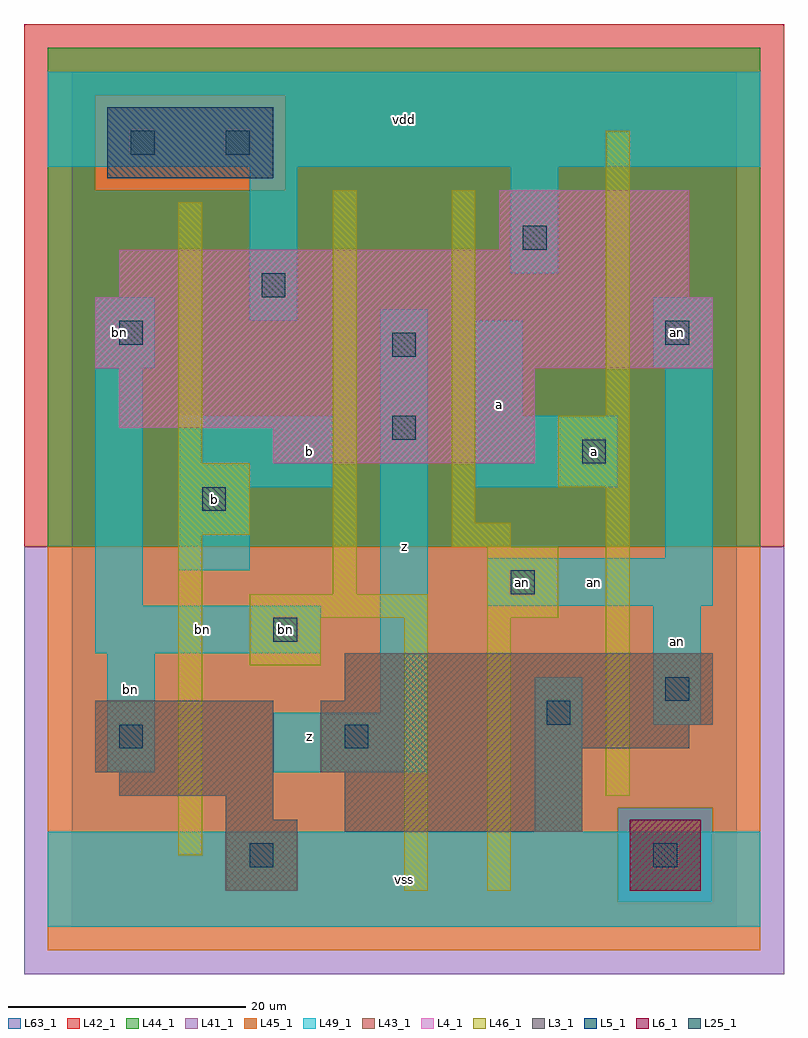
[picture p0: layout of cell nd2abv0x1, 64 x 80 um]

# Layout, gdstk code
import gdstk
lib = gdstk.Library(unit=1e-6, precision=1e-09)
def R(c, l, rs):  # rectangles x0, y0, x1, y1
    for r in rs: c.add(gdstk.rectangle(r[:2], r[2:], *l))
L3_1 = (3, 1)
L4_1 = (4, 1)
L5_1 = (5, 1)
L6_1 = (6, 1)
L25_1 = (25, 1)
L41_1 = (41, 1)
L42_1 = (42, 1)
L43_1 = (43, 1)
L44_1 = (44, 1)
L45_1 = (45, 1)
L46_1 = (46, 1)
L49_1 = (49, 1)
L63_1 = (63, 1)

nd2abv0x1 = lib.new_cell('nd2abv0x1')
R(nd2abv0x1, L3_1, [(13,3,19,9), (23,8,43,13), (13,9,17,11), (4,11,17,13), (2,13,17,19), (21,13,43,15), (21,15,52,17), (21,17,54,19), (23,19,54,23)])
R(nd2abv0x1, L4_1, [(17,39,39,42), (4,42,39,47), (2,47,54,53), (4,53,52,57), (36,57,52,62)])
R(nd2abv0x1, L5_1, [(3,63,17,69)])
R(nd2abv0x1, L6_1, [(47,3,53,9), (47,3,53,9)])
R(nd2abv0x1, L25_1, [(15,5,17,7), (49,5,51,7), (4,15,6,17), (23,15,25,17), (40,17,42,19), (50,19,52,21), (17,24,19,26), (37,28,39,30), (11,35,13,37), (43,39,45,41), (27,41,29,43), (27,48,29,50), (4,49,6,51), (50,49,52,51), (16,53,18,55), (38,57,40,59), (5,65,7,67), (13,65,15,67)])
R(nd2abv0x1, L41_1, [(-4,-4,60,32)])
R(nd2abv0x1, L42_1, [(-4,32,60,76)])
R(nd2abv0x1, L43_1, [(13,3,19,9), (47,3,53,9), (23,8,43,13), (13,9,17,11), (4,11,17,13), (2,13,17,19), (21,13,43,15), (21,15,52,17), (21,17,54,19), (23,19,54,23), (17,39,39,42), (4,42,39,47), (2,47,54,53), (4,53,52,57), (36,57,52,62), (3,63,17,69)])
R(nd2abv0x1, L44_1, [(46,2,54,10), (-2,32,58,62), (-2,62,2,70), (18,62,58,70), (-2,70,58,74)])
R(nd2abv0x1, L45_1, [(-2,-2,58,2), (-2,2,46,10), (54,2,58,10), (-2,10,58,32), (2,62,18,70)])
R(nd2abv0x1, L46_1, [(28,3,30,26), (35,3,37,26), (9,6,11,33), (45,11,47,37), (15,22,21,26), (15,26,30,28), (35,26,41,32), (22,28,24,62), (32,32,37,34), (9,33,15,39), (32,34,34,62), (41,37,47,43), (9,39,11,61), (45,43,47,67)])
R(nd2abv0x1, L49_1, [(-2,0,58,8), (39,8,43,21), (3,13,7,23), (17,13,30,18), (49,17,53,27), (26,18,30,52), (2,23,21,27), (2,27,6,47), (35,27,54,31), (9,30,15,37), (50,31,54,47), (9,37,22,43), (34,37,46,43), (34,43,38,51), (2,47,7,53), (49,47,54,53), (15,51,19,64), (37,55,41,64), (-2,64,58,72)])
R(nd2abv0x1, L63_1, [(0,0,56,72)])
nd2abv0x1.add(gdstk.Label('bn', (18,25), layer=49, texttype=1))
nd2abv0x1.add(gdstk.Label('an', (38,29), layer=49, texttype=1))
nd2abv0x1.add(gdstk.Label('bn', (5,20), layer=49, texttype=1))
nd2abv0x1.add(gdstk.Label('bn', (4,50), layer=49, texttype=1))
nd2abv0x1.add(gdstk.Label('z', (20,16), layer=49, texttype=1))
nd2abv0x1.add(gdstk.Label('bn', (11,25), layer=49, texttype=1))
nd2abv0x1.add(gdstk.Label('b', (20,40), layer=49, texttype=1))
nd2abv0x1.add(gdstk.Label('b', (12,36), layer=49, texttype=1))
nd2abv0x1.add(gdstk.Label('vss', (28,4), layer=49, texttype=1))
nd2abv0x1.add(gdstk.Label('z', (28,32), layer=49, texttype=1))
nd2abv0x1.add(gdstk.Label('a', (36,44), layer=49, texttype=1))
nd2abv0x1.add(gdstk.Label('vdd', (28,68), layer=49, texttype=1))
nd2abv0x1.add(gdstk.Label('an', (51,24), layer=49, texttype=1))
nd2abv0x1.add(gdstk.Label('an', (44,29), layer=49, texttype=1))
nd2abv0x1.add(gdstk.Label('a', (44,40), layer=49, texttype=1))
nd2abv0x1.add(gdstk.Label('an', (51,50), layer=49, texttype=1))

lib.write_gds('nd2abv0x1.gds')
